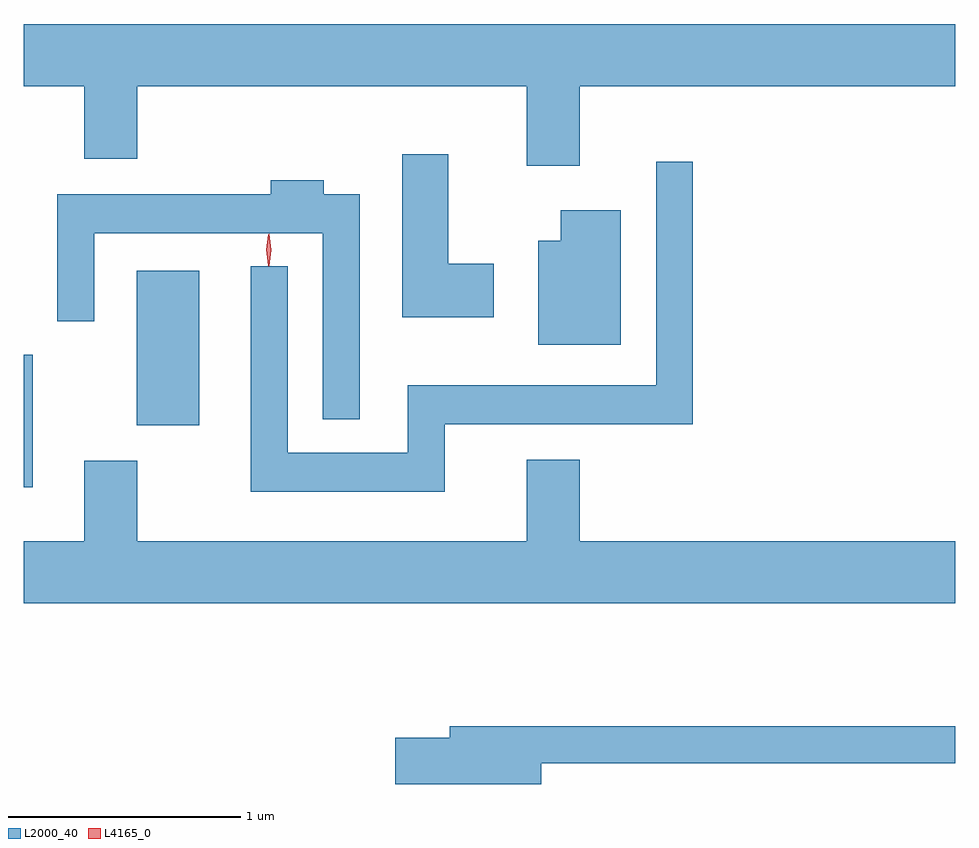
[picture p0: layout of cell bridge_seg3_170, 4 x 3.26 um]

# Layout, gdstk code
import gdstk
lib = gdstk.Library(unit=1e-6, precision=1e-09)
def R(c, l, rs):  # rectangles x0, y0, x1, y1
    for r in rs: c.add(gdstk.rectangle(r[:2], r[2:], *l))
def P(c, l, *ps):  # polygons
    for p in ps: c.add(gdstk.Polygon(p, *l))
L2000_40 = (2000, 40)
L4165_0 = (4165, 0)

bridge_seg3_170 = lib.new_cell('bridge_seg3_170')
R(bridge_seg3_170, L2000_40, [(900.391,1186.456,900.429,1187.024), (900.876,1186.721,901.144,1187.384)])
P(bridge_seg3_170, L2000_40, [(902.779,1188.176),(904.391,1188.176),(904.391,1188.444),(900.391,1188.444),(900.391,1188.176),(900.651,1188.176),(900.651,1187.866),(900.879,1187.866),(900.879,1188.176),(902.551,1188.176),(902.551,1187.836),(902.779,1187.836)],
  [(902.409,1187.414),(902.214,1187.414),(902.214,1187.884),(902.016,1187.884),(902.016,1187.186),(902.409,1187.186)],
  [(902.199,1186.726),(903.264,1186.726),(903.264,1187.853),(903.106,1187.853),(903.106,1186.894),(902.041,1186.894),(902.041,1186.604),(901.524,1186.604),(901.524,1187.403),(901.366,1187.403),(901.366,1186.436),(902.199,1186.436)],
  [(901.834,1187.714),(901.679,1187.714),(901.679,1187.774),(901.451,1187.774),(901.451,1187.714),(900.536,1187.714),(900.536,1187.168),(900.694,1187.168),(900.694,1187.546),(901.676,1187.546),(901.676,1186.748),(901.834,1186.748)],
  [(902.954,1187.644),(902.696,1187.644),(902.696,1187.514),(902.601,1187.514),(902.601,1187.066),(902.954,1187.066)],
  [(904.391,1186.224),(902.779,1186.224),(902.779,1186.574),(902.551,1186.574),(902.551,1186.224),(900.879,1186.224),(900.879,1186.569),(900.651,1186.569),(900.651,1186.224),(900.391,1186.224),(900.391,1185.956),(904.391,1185.956)],
  [(902.614,1185.271),(904.391,1185.271),(904.391,1185.429),(902.221,1185.429),(902.221,1185.379),(901.986,1185.379),(901.986,1185.181),(902.614,1185.181)])
P(bridge_seg3_170, L4165_0, [(901.444,1187.404),(901.435,1187.474),(901.444,1187.542),(901.445,1187.543),(901.445,1187.542),(901.455,1187.474),(901.445,1187.404),(901.445,1187.404)],
  [(901.442,1187.407),(901.441,1187.408),(901.432,1187.474),(901.441,1187.54),(901.442,1187.54),(901.442,1187.54),(901.452,1187.474),(901.442,1187.408)])

lib.write_gds('bridge_seg3_170.gds')
